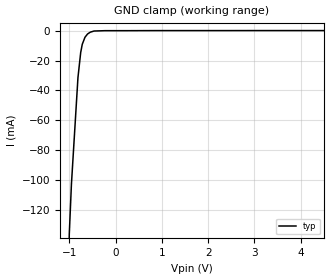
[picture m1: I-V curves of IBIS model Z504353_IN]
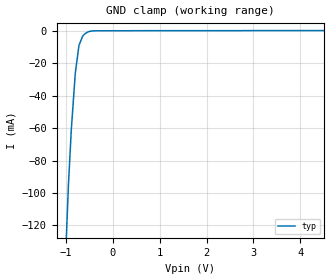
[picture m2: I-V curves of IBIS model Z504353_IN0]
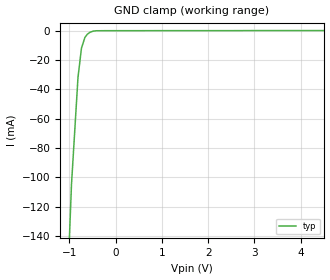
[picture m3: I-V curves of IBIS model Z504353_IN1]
| YOU ARE ONLY AUTHORIZED TO USE THIS SOFTWARE
| ACCORDING TO LICENSOR'S LICENSE RESTRICTIONS.
[IBIS Ver] 3.1
[File Name] mc74lcx74d.ibs
[File Rev] 2.0
[Source] Measured and created by ICX Technology
[Date] Friday 7/14/00 9:08:13 AM
[Copyright]
| (C) COPYRIGHT 1993-2000
| MENTOR GRAPHICS CORPORATION
| ICX STANDARD LIBRARY, ICX PROJECT MODELING,
| ICX CUSTOM MODELING, ICX VENDOR MODEL
| ALL RIGHTS RESERVED.
| THE FOLLOWING ARE TRADEMARKS OR SERVICE MARKS OF
| MENTOR GRAPHICS CORPORATION:ICX (R), ICX STANDARD
| LIBRARY(R), ICX PROJECT MODELING(R), ICX CUSTOM
| MODELING(R), qualityIBIS(TM), MODELVIEWER(TM),
| AND MODELEDITOR(TM)
| ALL COPIES OF SOFTWARE, INCLUDING BUT NOT LIMITED TO
| ANY MODIFICATIONS, ENHANCEMENTS OR DERIVATIVE WORKS,
| MUST CONTAIN ALL MENTOR GRAPHICS CORPORATION'S
| NOTICES AND LEGENDS, INCLUDING THOSE EMBEDDED IN
| SOFTWARE AND THOSE AFFIXED TO SOFTWARE MEDIUM
| AND CONTAINER, AS RECEIVED FROM MENTOR GRAPHICS
| CORPORATION.
|  ZAP Model Builder 2.7
[Component] MC74LCX74D
[Manufacturer] OnSemiconductor
[Package]
| variable   typ   min   max
R_pkg  .155ohms NA NA
L_pkg  3.028nH NA NA
C_pkg  .381pF NA NA
[Pin] signal_name  model_name  R_pin  L_pin C_pin
1 _CLR Z504353_IN0 .16 3.587n .407p
2 D Z504353_IN .156 3.147n .387p
3 CLK Z504353_IN1 .152 2.717n .367p
4 _PRE Z504353_IN2 .148 2.297n .347p
5 Q Z504353_OUT .152 2.717n .367p
6 _Q Z504353_OUT0 .156 3.147n .387p
7 GROUND GND .16 3.587n .407p
8 _Q Z504353_OUT0 .16 3.587n .407p
9 Q Z504353_OUT .156 3.147n .387p
10 _PRE Z504353_IN2 .152 2.717n .367p
11 CLK Z504353_IN1 .148 2.297n .347p
12 D Z504353_IN .152 2.717n .367p
13 _CLR Z504353_IN0 .156 3.147n .387p
14 VCC POWER .16 3.587n .407p
| Models and submodels in the file (6): Z504353_IN (Input), Z504353_IN0 (Input), Z504353_IN1 (Input), Z504353_IN2 (Input), Z504353_OUT (Output), Z504353_OUT0 (Output)
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| (C) COPYRIGHT 1993-2000
| MENTOR GRAPHICS CORPORATION
| ICX STANDARD LIBRARY, ICX PROJECT MODELING,
| ICX CUSTOM MODELING, ICX VENDOR MODEL
| ALL RIGHTS RESERVED.
| THE FOLLOWING ARE TRADEMARKS OR SERVICE MARKS OF
| MENTOR GRAPHICS CORPORATION:ICX (R), ICX STANDARD
| LIBRARY(R), ICX PROJECT MODELING(R), ICX CUSTOM
| MODELING(R), qualityIBIS(TM), MODELVIEWER(TM),
| AND MODELEDITOR(TM)
| ALL COPIES OF SOFTWARE, INCLUDING BUT NOT LIMITED TO
| ANY MODIFICATIONS, ENHANCEMENTS OR DERIVATIVE WORKS,
| MUST CONTAIN ALL MENTOR GRAPHICS CORPORATION'S
| NOTICES AND LEGENDS, INCLUDING THOSE EMBEDDED IN
| SOFTWARE AND THOSE AFFIXED TO SOFTWARE MEDIUM
| AND CONTAINER, AS RECEIVED FROM MENTOR GRAPHICS
| CORPORATION.
| Model Application Version 1.89 2/18/99.
[Model] Z504353_IN
Model_type Input
Vinl = 800.0mV
Vinh = 2.000V
C_comp 4.000pF NA NA
| variable typ   min   max
[Voltage Range] 3.300V NA NA
[GND Clamp Reference] 0.000V NA NA
[POWER Clamp Reference] 3.300V NA NA
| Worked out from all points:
|   GND clamp passes 1 mA (typ) near -0.55 V on its own axis
[GND Clamp]
-3.3V     -2.155A    NA         NA
-1.003V   -136.8mA   NA         NA
-956.4mV  -103.1mA   NA         NA
-815mV    -31.39mA   NA         NA
-756mV    -14.59mA   NA         NA
-722.2mV  -9.093mA   NA         NA
-663.6mV  -4.346mA   NA         NA
-607.9mV  -2.136mA   NA         NA
-550.2mV  -934.3uA   NA         NA
-468.2mV  -132.1uA   NA         NA
-234.1mV  100.3uA    NA         NA
6.6V      172.6uA    NA         NA
[POWER Clamp]
-3.3V     0A         NA         NA
6.6V      0A         NA         NA
| (C) COPYRIGHT 1993-2000
| MENTOR GRAPHICS CORPORATION
| ICX STANDARD LIBRARY, ICX PROJECT MODELING,
| ICX CUSTOM MODELING, ICX VENDOR MODEL
| ALL RIGHTS RESERVED.
| THE FOLLOWING ARE TRADEMARKS OR SERVICE MARKS OF
| MENTOR GRAPHICS CORPORATION:ICX (R), ICX STANDARD
| LIBRARY(R), ICX PROJECT MODELING(R), ICX CUSTOM
| MODELING(R), qualityIBIS(TM), MODELVIEWER(TM),
| AND MODELEDITOR(TM)
| ALL COPIES OF SOFTWARE, INCLUDING BUT NOT LIMITED TO
| ANY MODIFICATIONS, ENHANCEMENTS OR DERIVATIVE WORKS,
| MUST CONTAIN ALL MENTOR GRAPHICS CORPORATION'S
| NOTICES AND LEGENDS, INCLUDING THOSE EMBEDDED IN
| SOFTWARE AND THOSE AFFIXED TO SOFTWARE MEDIUM
| AND CONTAINER, AS RECEIVED FROM MENTOR GRAPHICS
| CORPORATION.
| Model Application Version 1.89 2/18/99.
[Model] Z504353_IN0
Model_type Input
Vinl = 800.0mV
Vinh = 2.000V
C_comp 4.000pF NA NA
| variable typ   min   max
[Voltage Range] 3.300V NA NA
[GND Clamp Reference] 0.000V NA NA
[POWER Clamp Reference] 3.300V NA NA
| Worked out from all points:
|   GND clamp passes 1 mA (typ) near -0.55 V on its own axis
[GND Clamp]
-3.3V     -2.366A    NA         NA
-1.014V   -144.9mA   NA         NA
-945.6mV  -94.77mA   NA         NA
-884mV    -60.64mA   NA         NA
-800.4mV  -26.28mA   NA         NA
-721.9mV  -9.021mA   NA         NA
-644.5mV  -3.397mA   NA         NA
-608.2mV  -2.08mA    NA         NA
-531.8mV  -598.1uA   NA         NA
-195.2mV  115.2uA    NA         NA
6.6V      220.4uA    NA         NA
[POWER Clamp]
-3.3V     0A         NA         NA
6.6V      0A         NA         NA
| (C) COPYRIGHT 1993-2000
| MENTOR GRAPHICS CORPORATION
| ICX STANDARD LIBRARY, ICX PROJECT MODELING,
| ICX CUSTOM MODELING, ICX VENDOR MODEL
| ALL RIGHTS RESERVED.
| THE FOLLOWING ARE TRADEMARKS OR SERVICE MARKS OF
| MENTOR GRAPHICS CORPORATION:ICX (R), ICX STANDARD
| LIBRARY(R), ICX PROJECT MODELING(R), ICX CUSTOM
| MODELING(R), qualityIBIS(TM), MODELVIEWER(TM),
| AND MODELEDITOR(TM)
| ALL COPIES OF SOFTWARE, INCLUDING BUT NOT LIMITED TO
| ANY MODIFICATIONS, ENHANCEMENTS OR DERIVATIVE WORKS,
| MUST CONTAIN ALL MENTOR GRAPHICS CORPORATION'S
| NOTICES AND LEGENDS, INCLUDING THOSE EMBEDDED IN
| SOFTWARE AND THOSE AFFIXED TO SOFTWARE MEDIUM
| AND CONTAINER, AS RECEIVED FROM MENTOR GRAPHICS
| CORPORATION.
| Model Application Version 1.89 2/18/99.
[Model] Z504353_IN1
Model_type Input
Vinl = 800.0mV
Vinh = 2.000V
C_comp 4.000pF NA NA
| variable typ   min   max
[Voltage Range] 3.300V NA NA
[GND Clamp Reference] 0.000V NA NA
[POWER Clamp Reference] 3.300V NA NA
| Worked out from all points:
|   GND clamp passes 1 mA (typ) near -0.55 V on its own axis
[GND Clamp]
-3.3V     -2.382A    NA         NA
-1.009V   -148.8mA   NA         NA
-954.7mV  -104.8mA   NA         NA
-814.5mV  -31.89mA   NA         NA
-739.1mV  -11.82mA   NA         NA
-663.2mV  -4.411mA   NA         NA
-607.9mV  -2.175mA   NA         NA
-550.4mV  -948.2uA   NA         NA
-449.2mV  -37.42uA   NA         NA
-205mV    86.22uA    NA         NA
6.6V      170.7uA    NA         NA
[POWER Clamp]
-3.3V     0A         NA         NA
6.6V      0A         NA         NA
